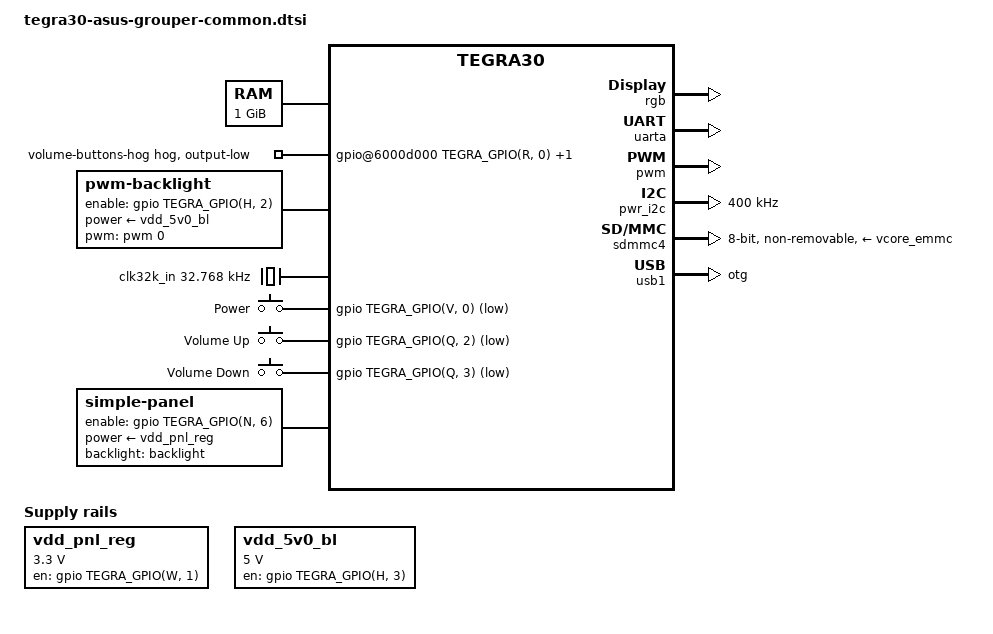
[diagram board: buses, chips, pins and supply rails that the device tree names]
// SPDX-License-Identifier: GPL-2.0

#include <dt-bindings/input/input.h>
#include "tegra30.dtsi"

/ {
	chosen {
		stdout-path = &uarta;
	};

	aliases {
		i2c0 = &pwr_i2c;

		mmc0 = &sdmmc4;	/* eMMC */

		rtc0 = &pmic;
		rtc1 = "/rtc@7000e000";

		usb0 = &usb1;
	};

	memory {
		device_type = "memory";
		reg = <0x80000000 0x40000000>;
	};

	host1x@50000000 {
		dc@54200000 {
			nvidia,180-rotation;
			rgb {
				status = "okay";

				nvidia,panel = <&panel>;
			};
		};
	};

	gpio@6000d000 {
		volume-buttons-hog {
			gpio-hog;
			gpios = <TEGRA_GPIO(R, 0) GPIO_ACTIVE_HIGH>,
				<TEGRA_GPIO(Q, 0) GPIO_ACTIVE_HIGH>;
			output-low;
		};
	};

	pinmux@70000868 {
		pinctrl-names = "default";
		pinctrl-0 = <&state_default>;

		state_default: pinmux {
			clk_32k_out_pa0 {
				nvidia,pins = "clk_32k_out_pa0";
				nvidia,function = "blink";
				nvidia,pull = <TEGRA_PIN_PULL_NONE>;
				nvidia,tristate = <TEGRA_PIN_DISABLE>;
				nvidia,enable-input = <TEGRA_PIN_DISABLE>;
			};
			uart3_cts_n_pa1 {
				nvidia,pins = "uart3_cts_n_pa1",
						"uart3_rxd_pw7";
				nvidia,function = "uartc";
				nvidia,pull = <TEGRA_PIN_PULL_NONE>;
				nvidia,tristate = <TEGRA_PIN_DISABLE>;
				nvidia,enable-input = <TEGRA_PIN_ENABLE>;
			};
			dap2_fs_pa2 {
				nvidia,pins = "dap2_fs_pa2",
						"dap2_sclk_pa3",
						"dap2_din_pa4",
						"dap2_dout_pa5";
				nvidia,function = "i2s1";
				nvidia,pull = <TEGRA_PIN_PULL_NONE>;
				nvidia,tristate = <TEGRA_PIN_DISABLE>;
				nvidia,enable-input = <TEGRA_PIN_ENABLE>;
			};
			sdmmc3_clk_pa6 {
				nvidia,pins = "sdmmc3_clk_pa6";
				nvidia,function = "sdmmc3";
				nvidia,pull = <TEGRA_PIN_PULL_NONE>;
				nvidia,tristate = <TEGRA_PIN_DISABLE>;
				nvidia,enable-input = <TEGRA_PIN_ENABLE>;
			};
			sdmmc3_cmd_pa7 {
				nvidia,pins = "sdmmc3_cmd_pa7",
						"sdmmc3_dat3_pb4",
						"sdmmc3_dat2_pb5",
						"sdmmc3_dat1_pb6",
						"sdmmc3_dat0_pb7",
						"sdmmc3_dat4_pd1",
						"sdmmc3_dat6_pd3",
						"sdmmc3_dat7_pd4";
				nvidia,function = "sdmmc3";
				nvidia,pull = <TEGRA_PIN_PULL_UP>;
				nvidia,tristate = <TEGRA_PIN_DISABLE>;
				nvidia,enable-input = <TEGRA_PIN_ENABLE>;
			};
			gmi_a17_pb0 {
				nvidia,pins = "gmi_a17_pb0",
						"gmi_a18_pb1";
				nvidia,function = "uartd";
				nvidia,pull = <TEGRA_PIN_PULL_NONE>;
				nvidia,tristate = <TEGRA_PIN_DISABLE>;
				nvidia,enable-input = <TEGRA_PIN_ENABLE>;
			};
			lcd_pwr0_pb2 {
				nvidia,pins = "lcd_pwr0_pb2",
						"lcd_pwr1_pc1",
						"lcd_m1_pw1";
				nvidia,function = "displaya";
				nvidia,pull = <TEGRA_PIN_PULL_NONE>;
				nvidia,tristate = <TEGRA_PIN_DISABLE>;
				nvidia,enable-input = <TEGRA_PIN_DISABLE>;
			};
			lcd_pclk_pb3 {
				nvidia,pins = "lcd_pclk_pb3",
						"lcd_d0_pe0",
						"lcd_d1_pe1",
						"lcd_d2_pe2",
						"lcd_d3_pe3",
						"lcd_d4_pe4",
						"lcd_d5_pe5",
						"lcd_d6_pe6",
						"lcd_d7_pe7",
						"lcd_d8_pf0",
						"lcd_d9_pf1",
						"lcd_d10_pf2",
						"lcd_d11_pf3",
						"lcd_d12_pf4",
						"lcd_d13_pf5",
						"lcd_d14_pf6",
						"lcd_d15_pf7",
						"lcd_de_pj1",
						"lcd_hsync_pj3",
						"lcd_vsync_pj4",
						"lcd_d16_pm0",
						"lcd_d17_pm1",
						"lcd_d18_pm2",
						"lcd_d19_pm3",
						"lcd_d20_pm4",
						"lcd_d21_pm5",
						"lcd_d22_pm6",
						"lcd_d23_pm7",
						"lcd_cs0_n_pn4",
						"lcd_sdout_pn5",
						"lcd_dc0_pn6",
						"lcd_cs1_n_pw0",
						"lcd_sdin_pz2",
						"lcd_sck_pz4";
				nvidia,function = "displaya";
				nvidia,pull = <TEGRA_PIN_PULL_NONE>;
				nvidia,tristate = <TEGRA_PIN_DISABLE>;
				nvidia,enable-input = <TEGRA_PIN_ENABLE>;
			};
			uart3_rts_n_pc0 {
				nvidia,pins = "uart3_rts_n_pc0",
						"uart3_txd_pw6";
				nvidia,function = "uartc";
				nvidia,pull = <TEGRA_PIN_PULL_NONE>;
				nvidia,tristate = <TEGRA_PIN_DISABLE>;
				nvidia,enable-input = <TEGRA_PIN_DISABLE>;
			};
			uart2_txd_pc2 {
				nvidia,pins = "uart2_txd_pc2",
						"uart2_rts_n_pj6";
				nvidia,function = "uartb";
				nvidia,pull = <TEGRA_PIN_PULL_NONE>;
				nvidia,tristate = <TEGRA_PIN_DISABLE>;
				nvidia,enable-input = <TEGRA_PIN_DISABLE>;
			};
			uart2_rxd_pc3 {
				nvidia,pins = "uart2_rxd_pc3",
						"uart2_cts_n_pj5";
				nvidia,function = "uartb";
				nvidia,pull = <TEGRA_PIN_PULL_NONE>;
				nvidia,tristate = <TEGRA_PIN_DISABLE>;
				nvidia,enable-input = <TEGRA_PIN_ENABLE>;
			};
			gen1_i2c_scl_pc4 {
				nvidia,pins = "gen1_i2c_scl_pc4",
						"gen1_i2c_sda_pc5";
				nvidia,function = "i2c1";
				nvidia,pull = <TEGRA_PIN_PULL_NONE>;
				nvidia,tristate = <TEGRA_PIN_DISABLE>;
				nvidia,enable-input = <TEGRA_PIN_ENABLE>;
				nvidia,open-drain = <TEGRA_PIN_ENABLE>;
			};
			gmi_wp_n_pc7 {
				nvidia,pins = "gmi_wp_n_pc7",
						"gmi_wait_pi7",
						"gmi_cs4_n_pk2",
						"gmi_cs3_n_pk4";
				nvidia,function = "rsvd1";
				nvidia,pull = <TEGRA_PIN_PULL_NONE>;
				nvidia,tristate = <TEGRA_PIN_ENABLE>;
				nvidia,enable-input = <TEGRA_PIN_DISABLE>;
			};
			gmi_ad12_ph4 {
				nvidia,pins = "gmi_ad12_ph4",
						"gmi_cs0_n_pj0",
						"gmi_cs1_n_pj2",
						"gmi_cs2_n_pk3";
				nvidia,function = "rsvd1";
				nvidia,pull = <TEGRA_PIN_PULL_NONE>;
				nvidia,tristate = <TEGRA_PIN_ENABLE>;
				nvidia,enable-input = <TEGRA_PIN_ENABLE>;
			};
			sdmmc3_dat5_pd0 {
				nvidia,pins = "sdmmc3_dat5_pd0";
				nvidia,function = "sdmmc3";
				nvidia,pull = <TEGRA_PIN_PULL_NONE>;
				nvidia,tristate = <TEGRA_PIN_DISABLE>;
				nvidia,enable-input = <TEGRA_PIN_DISABLE>;
			};
			gmi_ad0_pg0 {
				nvidia,pins = "gmi_ad0_pg0",
						"gmi_ad1_pg1",
						"gmi_ad14_ph6",
						"pu1";
				nvidia,function = "rsvd1";
				nvidia,pull = <TEGRA_PIN_PULL_NONE>;
				nvidia,tristate = <TEGRA_PIN_DISABLE>;
				nvidia,enable-input = <TEGRA_PIN_DISABLE>;
			};
			gmi_ad2_pg2 {
				nvidia,pins = "gmi_ad2_pg2",
						"gmi_ad3_pg3",
						"gmi_ad6_pg6",
						"gmi_ad7_pg7";
				nvidia,function = "rsvd1";
				nvidia,pull = <TEGRA_PIN_PULL_DOWN>;
				nvidia,tristate = <TEGRA_PIN_DISABLE>;
				nvidia,enable-input = <TEGRA_PIN_DISABLE>;
			};
			gmi_ad4_pg4 {
				nvidia,pins = "gmi_ad4_pg4",
						"gmi_ad5_pg5";
				nvidia,function = "nand";
				nvidia,pull = <TEGRA_PIN_PULL_NONE>;
				nvidia,tristate = <TEGRA_PIN_DISABLE>;
				nvidia,enable-input = <TEGRA_PIN_ENABLE>;
			};
			gmi_ad8_ph0 {
				nvidia,pins = "gmi_ad8_ph0";
				nvidia,function = "pwm0";
				nvidia,pull = <TEGRA_PIN_PULL_NONE>;
				nvidia,tristate = <TEGRA_PIN_DISABLE>;
				nvidia,enable-input = <TEGRA_PIN_DISABLE>;
			};
			gmi_ad9_ph1 {
				nvidia,pins = "gmi_ad9_ph1";
				nvidia,function = "rsvd4";
				nvidia,pull = <TEGRA_PIN_PULL_DOWN>;
				nvidia,tristate = <TEGRA_PIN_DISABLE>;
				nvidia,enable-input = <TEGRA_PIN_DISABLE>;
			};
			gmi_ad10_ph2 {
				nvidia,pins = "gmi_ad10_ph2";
				nvidia,function = "pwm2";
				nvidia,pull = <TEGRA_PIN_PULL_NONE>;
				nvidia,tristate = <TEGRA_PIN_ENABLE>;
				nvidia,enable-input = <TEGRA_PIN_DISABLE>;
			};
			gmi_ad11_ph3 {
				nvidia,pins = "gmi_ad11_ph3";
				nvidia,function = "pwm3";
				nvidia,pull = <TEGRA_PIN_PULL_NONE>;
				nvidia,tristate = <TEGRA_PIN_DISABLE>;
				nvidia,enable-input = <TEGRA_PIN_DISABLE>;
			};
			gmi_ad13_ph5 {
				nvidia,pins = "gmi_ad13_ph5",
						"gmi_wr_n_pi0",
						"gmi_oe_n_pi1",
						"gmi_adv_n_pk0";
				nvidia,function = "rsvd1";
				nvidia,pull = <TEGRA_PIN_PULL_NONE>;
				nvidia,tristate = <TEGRA_PIN_ENABLE>;
				nvidia,enable-input = <TEGRA_PIN_DISABLE>;
			};
			gmi_ad15_ph7 {
				nvidia,pins = "gmi_ad15_ph7";
				nvidia,function = "rsvd1";
				nvidia,pull = <TEGRA_PIN_PULL_UP>;
				nvidia,tristate = <TEGRA_PIN_DISABLE>;
				nvidia,enable-input = <TEGRA_PIN_DISABLE>;
			};
			gmi_dqs_pi2 {
				nvidia,pins = "gmi_dqs_pi2",
						"pu2",
						"pv1";
				nvidia,function = "rsvd1";
				nvidia,pull = <TEGRA_PIN_PULL_NONE>;
				nvidia,tristate = <TEGRA_PIN_DISABLE>;
				nvidia,enable-input = <TEGRA_PIN_ENABLE>;
			};
			gmi_rst_n_pi4 {
				nvidia,pins = "gmi_rst_n_pi4";
				nvidia,function = "nand";
				nvidia,pull = <TEGRA_PIN_PULL_UP>;
				nvidia,tristate = <TEGRA_PIN_DISABLE>;
				nvidia,enable-input = <TEGRA_PIN_DISABLE>;
			};
			gmi_iordy_pi5 {
				nvidia,pins = "gmi_iordy_pi5";
				nvidia,function = "rsvd1";
				nvidia,pull = <TEGRA_PIN_PULL_UP>;
				nvidia,tristate = <TEGRA_PIN_DISABLE>;
				nvidia,enable-input = <TEGRA_PIN_ENABLE>;
			};
			gmi_cs7_n_pi6 {
				nvidia,pins = "gmi_cs7_n_pi6",
						"gmi_clk_pk1";
				nvidia,function = "nand";
				nvidia,pull = <TEGRA_PIN_PULL_NONE>;
				nvidia,tristate = <TEGRA_PIN_ENABLE>;
				nvidia,enable-input = <TEGRA_PIN_DISABLE>;
			};
			gmi_a16_pj7 {
				nvidia,pins = "gmi_a16_pj7",
						"gmi_a19_pk7";
				nvidia,function = "uartd";
				nvidia,pull = <TEGRA_PIN_PULL_NONE>;
				nvidia,tristate = <TEGRA_PIN_DISABLE>;
				nvidia,enable-input = <TEGRA_PIN_DISABLE>;
			};
			spdif_out_pk5 {
				nvidia,pins = "spdif_out_pk5";
				nvidia,function = "spdif";
				nvidia,pull = <TEGRA_PIN_PULL_NONE>;
				nvidia,tristate = <TEGRA_PIN_DISABLE>;
				nvidia,enable-input = <TEGRA_PIN_DISABLE>;
			};
			spdif_in_pk6 {
				nvidia,pins = "spdif_in_pk6";
				nvidia,function = "spdif";
				nvidia,pull = <TEGRA_PIN_PULL_NONE>;
				nvidia,tristate = <TEGRA_PIN_DISABLE>;
				nvidia,enable-input = <TEGRA_PIN_ENABLE>;
			};
			dap1_fs_pn0 {
				nvidia,pins = "dap1_fs_pn0",
						"dap1_din_pn1",
						"dap1_dout_pn2",
						"dap1_sclk_pn3";
				nvidia,function = "i2s0";
				nvidia,pull = <TEGRA_PIN_PULL_NONE>;
				nvidia,tristate = <TEGRA_PIN_DISABLE>;
				nvidia,enable-input = <TEGRA_PIN_ENABLE>;
			};
			hdmi_int_pn7 {
				nvidia,pins = "hdmi_int_pn7";
				nvidia,function = "hdmi";
				nvidia,pull = <TEGRA_PIN_PULL_NONE>;
				nvidia,tristate = <TEGRA_PIN_ENABLE>;
				nvidia,enable-input = <TEGRA_PIN_ENABLE>;
			};
			ulpi_data7_po0 {
				nvidia,pins = "ulpi_data7_po0";
				nvidia,function = "uarta";
				nvidia,pull = <TEGRA_PIN_PULL_UP>;
				nvidia,tristate = <TEGRA_PIN_ENABLE>;
				nvidia,enable-input = <TEGRA_PIN_DISABLE>;
			};
			ulpi_data3_po4 {
				nvidia,pins = "ulpi_data3_po4";
				nvidia,function = "ulpi";
				nvidia,pull = <TEGRA_PIN_PULL_NONE>;
				nvidia,tristate = <TEGRA_PIN_DISABLE>;
				nvidia,enable-input = <TEGRA_PIN_ENABLE>;
			};
			dap3_fs_pp0 {
				nvidia,pins = "dap3_fs_pp0";
				nvidia,function = "i2s2";
				nvidia,pull = <TEGRA_PIN_PULL_NONE>;
				nvidia,tristate = <TEGRA_PIN_DISABLE>;
				nvidia,enable-input = <TEGRA_PIN_DISABLE>;
			};
			dap4_fs_pp4 {
				nvidia,pins = "dap4_fs_pp4",
						"dap4_din_pp5",
						"dap4_dout_pp6",
						"dap4_sclk_pp7";
				nvidia,function = "i2s3";
				nvidia,pull = <TEGRA_PIN_PULL_NONE>;
				nvidia,tristate = <TEGRA_PIN_DISABLE>;
				nvidia,enable-input = <TEGRA_PIN_ENABLE>;
			};
			kb_col0_pq0 {
				nvidia,pins = "kb_col0_pq0",
						"kb_col1_pq1",
						"kb_row1_pr1";
				nvidia,function = "kbc";
				nvidia,pull = <TEGRA_PIN_PULL_NONE>;
				nvidia,tristate = <TEGRA_PIN_ENABLE>;
				nvidia,enable-input = <TEGRA_PIN_DISABLE>;
			};
			kb_col2_pq2 {
				nvidia,pins = "kb_col2_pq2",
						"kb_col3_pq3";
				nvidia,function = "rsvd4";
				nvidia,pull = <TEGRA_PIN_PULL_UP>;
				nvidia,tristate = <TEGRA_PIN_ENABLE>;
				nvidia,enable-input = <TEGRA_PIN_ENABLE>;
			};
			kb_col4_pq4 {
				nvidia,pins = "kb_col4_pq4",
						"kb_col5_pq5",
						"kb_col7_pq7",
						"kb_row2_pr2",
						"kb_row4_pr4",
						"kb_row5_pr5",
						"kb_row14_ps6";
				nvidia,function = "kbc";
				nvidia,pull = <TEGRA_PIN_PULL_NONE>;
				nvidia,tristate = <TEGRA_PIN_ENABLE>;
				nvidia,enable-input = <TEGRA_PIN_ENABLE>;
			};
			kb_row0_pr0 {
				nvidia,pins = "kb_row0_pr0";
				nvidia,function = "rsvd4";
				nvidia,pull = <TEGRA_PIN_PULL_UP>;
				nvidia,tristate = <TEGRA_PIN_DISABLE>;
				nvidia,enable-input = <TEGRA_PIN_DISABLE>;
			};
			kb_row6_pr6 {
				nvidia,pins = "kb_row6_pr6",
						"kb_row8_ps0",
						"kb_row9_ps1",
						"kb_row10_ps2";
				nvidia,function = "kbc";
				nvidia,pull = <TEGRA_PIN_PULL_NONE>;
				nvidia,tristate = <TEGRA_PIN_DISABLE>;
				nvidia,enable-input = <TEGRA_PIN_DISABLE>;
			};
			kb_row11_ps3 {
				nvidia,pins = "kb_row11_ps3",
						"kb_row12_ps4";
				nvidia,function = "kbc";
				nvidia,pull = <TEGRA_PIN_PULL_NONE>;
				nvidia,tristate = <TEGRA_PIN_DISABLE>;
				nvidia,enable-input = <TEGRA_PIN_ENABLE>;
			};
			gen2_i2c_scl_pt5 {
				nvidia,pins = "gen2_i2c_scl_pt5",
						"gen2_i2c_sda_pt6";
				nvidia,function = "i2c2";
				nvidia,pull = <TEGRA_PIN_PULL_NONE>;
				nvidia,tristate = <TEGRA_PIN_DISABLE>;
				nvidia,enable-input = <TEGRA_PIN_ENABLE>;
				nvidia,open-drain = <TEGRA_PIN_ENABLE>;
			};
			sdmmc4_cmd_pt7 {
				nvidia,pins = "sdmmc4_cmd_pt7",
						"sdmmc4_dat0_paa0",
						"sdmmc4_dat1_paa1",
						"sdmmc4_dat2_paa2",
						"sdmmc4_dat3_paa3",
						"sdmmc4_dat4_paa4",
						"sdmmc4_dat5_paa5",
						"sdmmc4_dat6_paa6",
						"sdmmc4_dat7_paa7";
				nvidia,function = "sdmmc4";
				nvidia,pull = <TEGRA_PIN_PULL_UP>;
				nvidia,tristate = <TEGRA_PIN_DISABLE>;
				nvidia,enable-input = <TEGRA_PIN_ENABLE>;
			};
			pu0 {
				nvidia,pins = "pu0",
						"pu6";
				nvidia,function = "rsvd4";
				nvidia,pull = <TEGRA_PIN_PULL_NONE>;
				nvidia,tristate = <TEGRA_PIN_DISABLE>;
				nvidia,enable-input = <TEGRA_PIN_ENABLE>;
			};
			jtag_rtck_pu7 {
				nvidia,pins = "jtag_rtck_pu7";
				nvidia,function = "rtck";
				nvidia,pull = <TEGRA_PIN_PULL_UP>;
				nvidia,tristate = <TEGRA_PIN_DISABLE>;
				nvidia,enable-input = <TEGRA_PIN_ENABLE>;
			};
			pv0 {
				nvidia,pins = "pv0";
				nvidia,function = "rsvd1";
				nvidia,pull = <TEGRA_PIN_PULL_UP>;
				nvidia,tristate = <TEGRA_PIN_ENABLE>;
				nvidia,enable-input = <TEGRA_PIN_ENABLE>;
			};
			ddc_scl_pv4 {
				nvidia,pins = "ddc_scl_pv4",
						"ddc_sda_pv5";
				nvidia,function = "i2c4";
				nvidia,pull = <TEGRA_PIN_PULL_NONE>;
				nvidia,tristate = <TEGRA_PIN_DISABLE>;
				nvidia,enable-input = <TEGRA_PIN_ENABLE>;
			};
			crt_hsync_pv6 {
				nvidia,pins = "crt_hsync_pv6",
						"crt_vsync_pv7";
				nvidia,function = "crt";
				nvidia,pull = <TEGRA_PIN_PULL_NONE>;
				nvidia,tristate = <TEGRA_PIN_DISABLE>;
				nvidia,enable-input = <TEGRA_PIN_DISABLE>;
			};
			spi2_cs1_n_pw2 {
				nvidia,pins = "spi2_cs1_n_pw2",
						"spi2_miso_px1",
						"spi2_sck_px2";
				nvidia,function = "spi2";
				nvidia,pull = <TEGRA_PIN_PULL_NONE>;
				nvidia,tristate = <TEGRA_PIN_DISABLE>;
				nvidia,enable-input = <TEGRA_PIN_ENABLE>;
			};
			clk1_out_pw4 {
				nvidia,pins = "clk1_out_pw4";
				nvidia,function = "extperiph1";
				nvidia,pull = <TEGRA_PIN_PULL_NONE>;
				nvidia,tristate = <TEGRA_PIN_DISABLE>;
				nvidia,enable-input = <TEGRA_PIN_ENABLE>;
			};
			clk2_out_pw5 {
				nvidia,pins = "clk2_out_pw5";
				nvidia,function = "extperiph2";
				nvidia,pull = <TEGRA_PIN_PULL_NONE>;
				nvidia,tristate = <TEGRA_PIN_DISABLE>;
				nvidia,enable-input = <TEGRA_PIN_ENABLE>;
			};
			spi2_cs0_n_px3 {
				nvidia,pins = "spi2_cs0_n_px3";
				nvidia,function = "spi6";
				nvidia,pull = <TEGRA_PIN_PULL_UP>;
				nvidia,tristate = <TEGRA_PIN_DISABLE>;
				nvidia,enable-input = <TEGRA_PIN_ENABLE>;
			};
			spi1_mosi_px4 {
				nvidia,pins = "spi1_mosi_px4",
						"spi1_cs0_n_px6";
				nvidia,function = "spi1";
				nvidia,pull = <TEGRA_PIN_PULL_NONE>;
				nvidia,tristate = <TEGRA_PIN_DISABLE>;
				nvidia,enable-input = <TEGRA_PIN_ENABLE>;
			};
			ulpi_clk_py0 {
				nvidia,pins = "ulpi_clk_py0",
						"ulpi_dir_py1";
				nvidia,function = "ulpi";
				nvidia,pull = <TEGRA_PIN_PULL_NONE>;
				nvidia,tristate = <TEGRA_PIN_ENABLE>;
				nvidia,enable-input = <TEGRA_PIN_DISABLE>;
			};
			sdmmc1_dat3_py4 {
				nvidia,pins = "sdmmc1_dat3_py4",
						"sdmmc1_dat2_py5",
						"sdmmc1_dat1_py6",
						"sdmmc1_dat0_py7",
						"sdmmc1_cmd_pz1";
				nvidia,function = "sdmmc1";
				nvidia,pull = <TEGRA_PIN_PULL_UP>;
				nvidia,tristate = <TEGRA_PIN_DISABLE>;
				nvidia,enable-input = <TEGRA_PIN_ENABLE>;
			};
			sdmmc1_clk_pz0 {
				nvidia,pins = "sdmmc1_clk_pz0";
				nvidia,function = "sdmmc1";
				nvidia,pull = <TEGRA_PIN_PULL_NONE>;
				nvidia,tristate = <TEGRA_PIN_DISABLE>;
				nvidia,enable-input = <TEGRA_PIN_ENABLE>;
			};
			lcd_wr_n_pz3 {
				nvidia,pins = "lcd_wr_n_pz3";
				nvidia,function = "displaya";
				nvidia,pull = <TEGRA_PIN_PULL_UP>;
				nvidia,tristate = <TEGRA_PIN_DISABLE>;
				nvidia,enable-input = <TEGRA_PIN_ENABLE>;
			};
			sys_clk_req_pz5 {
				nvidia,pins = "sys_clk_req_pz5";
				nvidia,function = "sysclk";
				nvidia,pull = <TEGRA_PIN_PULL_NONE>;
				nvidia,tristate = <TEGRA_PIN_DISABLE>;
				nvidia,enable-input = <TEGRA_PIN_DISABLE>;
			};
			pwr_i2c_scl_pz6 {
				nvidia,pins = "pwr_i2c_scl_pz6",
						"pwr_i2c_sda_pz7";
				nvidia,function = "i2cpwr";
				nvidia,pull = <TEGRA_PIN_PULL_NONE>;
				nvidia,tristate = <TEGRA_PIN_DISABLE>;
				nvidia,enable-input = <TEGRA_PIN_ENABLE>;
				nvidia,open-drain = <TEGRA_PIN_ENABLE>;
			};
			pbb0 {
				nvidia,pins = "pbb0",
						"pcc1";
				nvidia,function = "rsvd2";
				nvidia,pull = <TEGRA_PIN_PULL_NONE>;
				nvidia,tristate = <TEGRA_PIN_DISABLE>;
				nvidia,enable-input = <TEGRA_PIN_ENABLE>;
			};
			cam_i2c_scl_pbb1 {
				nvidia,pins = "cam_i2c_scl_pbb1",
						"cam_i2c_sda_pbb2";
				nvidia,function = "i2c3";
				nvidia,pull = <TEGRA_PIN_PULL_NONE>;
				nvidia,tristate = <TEGRA_PIN_DISABLE>;
				nvidia,enable-input = <TEGRA_PIN_ENABLE>;
				nvidia,open-drain = <TEGRA_PIN_ENABLE>;
			};
			pbb3 {
				nvidia,pins = "pbb3";
				nvidia,function = "vgp3";
				nvidia,pull = <TEGRA_PIN_PULL_NONE>;
				nvidia,tristate = <TEGRA_PIN_DISABLE>;
				nvidia,enable-input = <TEGRA_PIN_ENABLE>;
			};
			pbb4 {
				nvidia,pins = "pbb4";
				nvidia,function = "vgp4";
				nvidia,pull = <TEGRA_PIN_PULL_NONE>;
				nvidia,tristate = <TEGRA_PIN_DISABLE>;
				nvidia,enable-input = <TEGRA_PIN_ENABLE>;
			};
			pbb5 {
				nvidia,pins = "pbb5";
				nvidia,function = "vgp5";
				nvidia,pull = <TEGRA_PIN_PULL_NONE>;
				nvidia,tristate = <TEGRA_PIN_DISABLE>;
				nvidia,enable-input = <TEGRA_PIN_ENABLE>;
			};
			pbb6 {
				nvidia,pins = "pbb6";
				nvidia,function = "vgp6";
				nvidia,pull = <TEGRA_PIN_PULL_NONE>;
				nvidia,tristate = <TEGRA_PIN_DISABLE>;
				nvidia,enable-input = <TEGRA_PIN_ENABLE>;
			};
			pbb7 {
				nvidia,pins = "pbb7",
						"pcc2";
				nvidia,function = "i2s4";
				nvidia,pull = <TEGRA_PIN_PULL_NONE>;
				nvidia,tristate = <TEGRA_PIN_DISABLE>;
				nvidia,enable-input = <TEGRA_PIN_ENABLE>;
			};
			cam_mclk_pcc0 {
				nvidia,pins = "cam_mclk_pcc0";
				nvidia,function = "vi_alt3";
				nvidia,pull = <TEGRA_PIN_PULL_DOWN>;
				nvidia,tristate = <TEGRA_PIN_DISABLE>;
				nvidia,enable-input = <TEGRA_PIN_ENABLE>;
			};
			sdmmc4_rst_n_pcc3 {
				nvidia,pins = "sdmmc4_rst_n_pcc3";
				nvidia,function = "rsvd2";
				nvidia,pull = <TEGRA_PIN_PULL_DOWN>;
				nvidia,tristate = <TEGRA_PIN_DISABLE>;
				nvidia,enable-input = <TEGRA_PIN_ENABLE>;
			};
			sdmmc4_clk_pcc4 {
				nvidia,pins = "sdmmc4_clk_pcc4";
				nvidia,function = "sdmmc4";
				nvidia,pull = <TEGRA_PIN_PULL_NONE>;
				nvidia,tristate = <TEGRA_PIN_DISABLE>;
				nvidia,enable-input = <TEGRA_PIN_ENABLE>;
			};
			clk2_req_pcc5 {
				nvidia,pins = "clk2_req_pcc5";
				nvidia,function = "dap";
				nvidia,pull = <TEGRA_PIN_PULL_NONE>;
				nvidia,tristate = <TEGRA_PIN_DISABLE>;
				nvidia,enable-input = <TEGRA_PIN_ENABLE>;
			};
			pex_l2_rst_n_pcc6 {
				nvidia,pins = "pex_l2_rst_n_pcc6",
						"pex_l2_clkreq_n_pcc7";
				nvidia,function = "pcie";
				nvidia,pull = <TEGRA_PIN_PULL_NONE>;
				nvidia,tristate = <TEGRA_PIN_DISABLE>;
				nvidia,enable-input = <TEGRA_PIN_DISABLE>;
			};
			pex_wake_n_pdd3 {
				nvidia,pins = "pex_wake_n_pdd3",
						"pex_l2_prsnt_n_pdd7";
				nvidia,function = "pcie";
				nvidia,pull = <TEGRA_PIN_PULL_NONE>;
				nvidia,tristate = <TEGRA_PIN_DISABLE>;
				nvidia,enable-input = <TEGRA_PIN_ENABLE>;
			};
			clk3_out_pee0 {
				nvidia,pins = "clk3_out_pee0";
				nvidia,function = "extperiph3";
				nvidia,pull = <TEGRA_PIN_PULL_NONE>;
				nvidia,tristate = <TEGRA_PIN_DISABLE>;
				nvidia,enable-input = <TEGRA_PIN_DISABLE>;
			};
			clk1_req_pee2 {
				nvidia,pins = "clk1_req_pee2";
				nvidia,function = "dap";
				nvidia,pull = <TEGRA_PIN_PULL_NONE>;
				nvidia,tristate = <TEGRA_PIN_ENABLE>;
				nvidia,enable-input = <TEGRA_PIN_DISABLE>;
			};
			hdmi_cec_pee3 {
				nvidia,pins = "hdmi_cec_pee3";
				nvidia,function = "cec";
				nvidia,pull = <TEGRA_PIN_PULL_NONE>;
				nvidia,tristate = <TEGRA_PIN_DISABLE>;
				nvidia,enable-input = <TEGRA_PIN_ENABLE>;
				nvidia,open-drain = <TEGRA_PIN_DISABLE>;
			};
			owr {
				nvidia,pins = "owr";
				nvidia,function = "owr";
				nvidia,pull = <TEGRA_PIN_PULL_NONE>;
				nvidia,tristate = <TEGRA_PIN_DISABLE>;
				nvidia,enable-input = <TEGRA_PIN_ENABLE>;
			};
			drive_dap1 {
				nvidia,pins = "drive_dap1",
						"drive_dap2",
						"drive_dbg",
						"drive_at5",
						"drive_gme",
						"drive_ddc",
						"drive_ao1",
						"drive_uart3";
				nvidia,high-speed-mode = <0>;
				nvidia,schmitt = <TEGRA_PIN_ENABLE>;
				nvidia,low-power-mode = <TEGRA_PIN_LP_DRIVE_DIV_1>;
				nvidia,pull-down-strength = <31>;
				nvidia,pull-up-strength = <31>;
				nvidia,slew-rate-rising = <TEGRA_PIN_SLEW_RATE_FASTEST>;
				nvidia,slew-rate-falling = <TEGRA_PIN_SLEW_RATE_FASTEST>;
			};
			drive_sdio1 {
				nvidia,pins = "drive_sdio1",
						"drive_sdio3";
				nvidia,high-speed-mode = <0>;
				nvidia,schmitt = <TEGRA_PIN_DISABLE>;
				nvidia,pull-down-strength = <46>;
				nvidia,pull-up-strength = <42>;
				nvidia,slew-rate-rising = <TEGRA_PIN_SLEW_RATE_FAST>;
				nvidia,slew-rate-falling = <TEGRA_PIN_SLEW_RATE_FAST>;
			};
			drive_gma {
				nvidia,pins = "drive_gma",
						"drive_gmb",
						"drive_gmc",
						"drive_gmd";
				nvidia,pull-down-strength = <9>;
				nvidia,pull-up-strength = <9>;
				nvidia,slew-rate-rising = <TEGRA_PIN_SLEW_RATE_SLOWEST>;
				nvidia,slew-rate-falling = <TEGRA_PIN_SLEW_RATE_SLOWEST>;
			};
		};
	};

	uarta: serial@70006000 {
		status = "okay";
	};

	pwm: pwm@7000a000 {
		status = "okay";
	};

	pwr_i2c: i2c@7000d000 {
		status = "okay";
		clock-frequency = <400000>;
	};

	sdmmc4: sdhci@78000600 {
		status = "okay";
		bus-width = <8>;
		non-removable;

		vmmc-supply = <&vcore_emmc>;
		vqmmc-supply = <&vdd_1v8_vio>;
	};

	usb1: usb@7d000000 {
		status = "okay";
		dr_mode = "otg";
	};

	usb-phy@7d000000 {
		status = "okay";
		nvidia,hssync-start-delay = <0>;
		nvidia,xcvr-lsfslew = <2>;
		nvidia,xcvr-lsrslew = <2>;
	};

	backlight: backlight {
		compatible = "pwm-backlight";

		enable-gpios = <&gpio TEGRA_GPIO(H, 2) GPIO_ACTIVE_HIGH>;
		power-supply = <&vdd_5v0_bl>;
		pwms = <&pwm 0 50000>;

		brightness-levels = <1 35 70 105 140 175 210 255>;
		default-brightness-level = <5>;
	};

	/* PMIC has a built-in 32KHz oscillator which is used by PMC */
	clk32k_in: clock-32k {
		compatible = "fixed-clock";
		#clock-cells = <0>;
		clock-frequency = <32768>;
		clock-output-names = "pmic-oscillator";
	};

	gpio-keys {
		compatible = "gpio-keys";

		key-power {
			label = "Power";
			gpios = <&gpio TEGRA_GPIO(V, 0) GPIO_ACTIVE_LOW>;
			linux,code = <KEY_ENTER>;
		};

		key-volume-up {
			label = "Volume Up";
			gpios = <&gpio TEGRA_GPIO(Q, 2) GPIO_ACTIVE_LOW>;
			linux,code = <KEY_UP>;
		};

		key-volume-down {
			label = "Volume Down";
			gpios = <&gpio TEGRA_GPIO(Q, 3) GPIO_ACTIVE_LOW>;
			linux,code = <KEY_DOWN>;
		};
	};

	panel: panel {
		compatible = "simple-panel";

		power-supply = <&vdd_pnl_reg>;
		enable-gpios = <&gpio TEGRA_GPIO(N, 6) GPIO_ACTIVE_HIGH>;

		backlight = <&backlight>;

		display-timings {
			timing@0 {
				/* 1280x800@60Hz */
				clock-frequency = <68000000>;

				hactive = <800>;
				hfront-porch = <24>;
				hback-porch = <32>;
				hsync-len = <24>;

				vactive = <1280>;
				vfront-porch = <5>;
				vback-porch = <32>;
				vsync-len = <1>;
			};
		};
	};

	vdd_pnl_reg: regulator-pnl {
		compatible = "regulator-fixed";
		regulator-name = "vdd_panel";
		regulator-min-microvolt = <3300000>;
		regulator-max-microvolt = <3300000>;
		gpio = <&gpio TEGRA_GPIO(W, 1) GPIO_ACTIVE_HIGH>;
		enable-active-high;
	};

	vdd_5v0_bl: regulator-bl {
		compatible = "regulator-fixed";
		regulator-name = "vdd_5v0_bl";
		regulator-min-microvolt = <5000000>;
		regulator-max-microvolt = <5000000>;
		gpio = <&gpio TEGRA_GPIO(H, 3) GPIO_ACTIVE_HIGH>;
		enable-active-high;
	};
};
